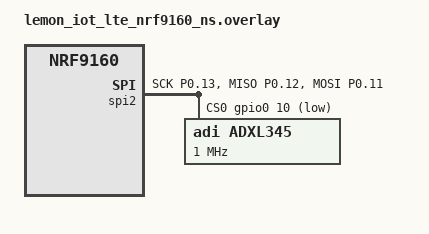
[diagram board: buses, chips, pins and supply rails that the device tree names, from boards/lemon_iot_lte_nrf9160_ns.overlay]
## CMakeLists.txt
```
# SPDX-License-Identifier: Apache-2.0

cmake_minimum_required(VERSION 3.20.0)

find_package(Zephyr REQUIRED HINTS $ENV{ZEPHYR_BASE})
project(adxl345)

FILE(GLOB app_sources src/*.c)
target_sources(app PRIVATE ${app_sources})
```

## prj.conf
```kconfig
CONFIG_SPI=y
CONFIG_SENSOR=y

CONFIG_CONSOLE=y
CONFIG_CBPRINTF_LIBC_SUBSTS=y
CONFIG_CBPRINTF_FP_SUPPORT=y

CONFIG_LOG=y
CONFIG_LOG_DEFAULT_LEVEL=4
CONFIG_LOG_BACKEND_UART=y
```

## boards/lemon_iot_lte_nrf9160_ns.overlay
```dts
&pinctrl {
	spi2_default: spi2_default {
		group1 {
			psels = <NRF_PSEL(SPIM_SCK, 0, 13)>,
				<NRF_PSEL(SPIM_MISO, 0, 12)>,
				<NRF_PSEL(SPIM_MOSI, 0, 11)>;
		};
	};

	spi2_sleep: spi2_sleep {
		group1 {
			psels = <NRF_PSEL(SPIM_SCK, 0, 13)>,
				<NRF_PSEL(SPIM_MISO, 0, 12)>,
				<NRF_PSEL(SPIM_MOSI, 0, 11)>;
			low-power-enable;
		};
	};
};

&spi2 {
	compatible = "nordic,nrf-spim";
	status = "okay";
	cs-gpios = <&gpio0 10 GPIO_ACTIVE_LOW>;
	pinctrl-0 = <&spi2_default>;
	pinctrl-1 = <&spi2_sleep>;
	pinctrl-names = "default", "sleep";
	adxl345: adxl345@0 {
		compatible = "adi,adxl345";
		reg = <0>; 
		spi-max-frequency = <1000000>;
	};
};
```

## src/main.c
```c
/*
 * nRF9160 ADXL345 3-axis Accelerometer Example
 *
 * This example uses Zephyr Sensor Framework and DeviceTree overlays (at a 
 * project level) to obtain X, Y & Z acceleration from an ADXL345 sensor.
 * 
 * API Reference:
 * https://docs.zephyrproject.org/latest/hardware/peripherals/sensor.html
 * https://docs.zephyrproject.org/latest/build/dts/api/bindings/sensor/adi%2Cadxl345-spi.html#dtbinding-adi-adxl345-spi
 * 
 */

#include <zephyr/kernel.h>
#include <zephyr/device.h>
#include <zephyr/devicetree.h>
#include <zephyr/drivers/sensor.h>
#include <stdio.h>

void main(void)
{
 	// Get a device structure from a devicetree node with compatible
 	// "adi,adxl345". 
	const struct device *dev = DEVICE_DT_GET_ANY(adi_adxl345);

	if (dev == NULL) {
		printk("\nError: No devicetree node found for Analog Devices ADXL345.\n");
		return;
	}

	if (!device_is_ready(dev)) {
		printf("Device %s is not ready\n", dev->name);
		return;
	}

	printk("Found device %s. Reading sensor data:\n", dev->name);

	while (true) {
		struct sensor_value accel_x, accel_y, accel_z;

		sensor_sample_fetch(dev);
		sensor_channel_get(dev, SENSOR_CHAN_ACCEL_X, &accel_x);
		sensor_channel_get(dev, SENSOR_CHAN_ACCEL_Y, &accel_y);
		sensor_channel_get(dev, SENSOR_CHAN_ACCEL_Z, &accel_z);

		printk("X = %.2f m/s2, Y = %.2f m/s2, Z = %.2f m/s2\n", 
				sensor_value_to_double(&accel_x), 
				sensor_value_to_double(&accel_y), 
				sensor_value_to_double(&accel_z));

		k_sleep(K_MSEC(1000));
	}
}
```
